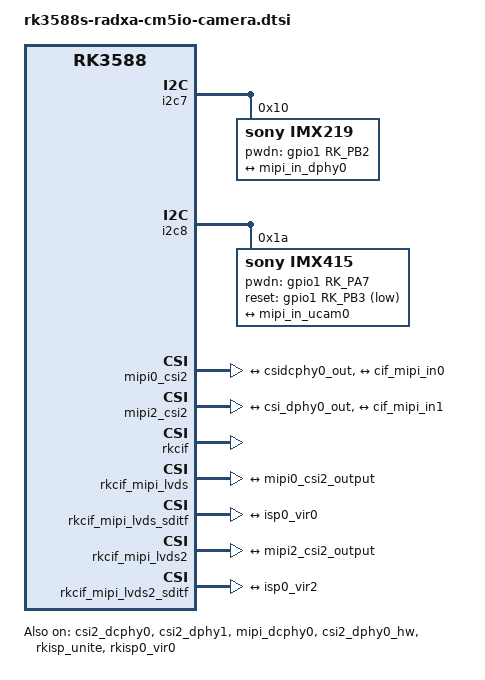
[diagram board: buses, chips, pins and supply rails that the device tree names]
// SPDX-License-Identifier: (GPL-2.0+ OR MIT)
/*
 * Copyright (c) 2021 Rockchip Electronics Co., Ltd.
 *
 */

/ {
	compatible = "radxa,rock-cm5", "rockchip,rk3588";
};

&csi2_dcphy0 {
	status = "okay";

	ports {
		#address-cells = <1>;
		#size-cells = <0>;
		port@0 {
			reg = <0>;
			#address-cells = <1>;
			#size-cells = <0>;

			mipi_in_ucam0: endpoint@1 {
				reg = <1>;
				remote-endpoint = <&imx415_out0>;
				data-lanes = <1 2 3 4>;
			};
		};
		port@1 {
			reg = <1>;
			#address-cells = <1>;
			#size-cells = <0>;

			csidcphy0_out: endpoint@0 {
				reg = <0>;
				remote-endpoint = <&mipi0_csi2_input>;
			};
		};
	};
};

&csi2_dphy1 {
	status = "okay";

	ports {
		#address-cells = <1>;
		#size-cells = <0>;
		port@0 {
			reg = <0>;
			#address-cells = <1>;
			#size-cells = <0>;

			mipi_in_dphy0: endpoint@2 {
				reg = <1>;
				remote-endpoint = <&imx219_out0>;
				data-lanes = <1 2>;
			};
		};

		port@1 {
			reg = <1>;
			#address-cells = <1>;
			#size-cells = <0>;

			csi_dphy0_out: endpoint@0 {
				reg = <0>;
				remote-endpoint = <&mipi2_csi2_input>;
			};
		};
	};
};

&i2c7 {
	status = "okay";
	pinctrl-names = "default";
	pinctrl-0 = <&i2c7m2_xfer>;

	imx219: imx219@10 {
		compatible = "sony,imx219";
		reg = <0x10>;

		clocks = <&cru CLK_MIPI_CAMARAOUT_M2>;
		clock-names = "xvclk";
		pwdn-gpios = <&gpio1 RK_PB2 GPIO_ACTIVE_HIGH>;
		
		rockchip,camera-module-index = <1>;
		rockchip,camera-module-facing = "front";
		rockchip,camera-module-name = "rpi-camera-v2";
		rockchip,camera-module-lens-name = "default";

		port {
			imx219_out0: endpoint {
				remote-endpoint = <&mipi_in_dphy0>;
				data-lanes = <1 2>;
			};
		};
	};
};

&i2c8 {
	status = "okay";

	imx415: imx415@1a {
		compatible = "sony,imx415";
		reg = <0x1a>;
		clocks = <&cru CLK_MIPI_CAMARAOUT_M1>;
		clock-names = "xvclk";
		pinctrl-names = "default";
		pinctrl-0 = <&mipim0_camera1_clk>;
		power-domains = <&power RK3588_PD_VI>;
		pwdn-gpios = <&gpio1 RK_PA7 GPIO_ACTIVE_HIGH>;
		reset-gpios = <&gpio1 RK_PB3 GPIO_ACTIVE_LOW>;
		// avdd-supply = <&vcc_mipidcphy0>;
		rockchip,camera-module-index = <0>;
		rockchip,camera-module-facing = "back";
		rockchip,camera-module-name = "CMK-OT2022-PX1";
		rockchip,camera-module-lens-name = "IR0147-50IRC-8M-F20";
		//lens-focus = <&cam_ircut0>;
		port {
			imx415_out0: endpoint {
				remote-endpoint = <&mipi_in_ucam0>;
				data-lanes = <1 2 3 4>;
			};
		};
	};
};

&mipi_dcphy0 {
	status = "okay";
};

&mipi0_csi2 {
	status = "okay";

	ports {
		#address-cells = <1>;
		#size-cells = <0>;

		port@0 {
			reg = <0>;
			#address-cells = <1>;
			#size-cells = <0>;

			mipi0_csi2_input: endpoint@1 {
				reg = <1>;
				remote-endpoint = <&csidcphy0_out>;
                data-lanes = <1 2 3 4>;
			};
		};

		port@1 {
			reg = <1>;
			#address-cells = <1>;
			#size-cells = <0>;

			mipi0_csi2_output: endpoint@0 {
				reg = <0>;
				remote-endpoint = <&cif_mipi_in0>;
                data-lanes = <1 2 3 4>;
			};
		};
	};
};

&csi2_dphy0_hw {
	status = "okay";
};

&mipi2_csi2 {
	status = "okay";

	ports {
		#address-cells = <1>;
		#size-cells = <0>;

		port@0 {
			reg = <0>;
			#address-cells = <1>;
			#size-cells = <0>;

			mipi2_csi2_input: endpoint@1 {
				reg = <1>;
				remote-endpoint = <&csi_dphy0_out>;
                data-lanes = <1 2>;
			};
		};

		port@1 {
			reg = <1>;
			#address-cells = <1>;
			#size-cells = <0>;

			mipi2_csi2_output: endpoint@0 {
				reg = <0>;
				remote-endpoint = <&cif_mipi_in1>;
                data-lanes = <1 2>;
			};
		};
	};
};

&rkcif {
	status = "okay";
};

&rkcif_mipi_lvds {
	status = "okay";

	port {
		cif_mipi_in0: endpoint {
			remote-endpoint = <&mipi0_csi2_output>;
            data-lanes = <1 2 3 4>;
		};
	};
};

&rkcif_mipi_lvds_sditf {
	status = "okay";

	port {
		mipi_lvds_sditf: endpoint {
			remote-endpoint = <&isp0_vir0>;
            data-lanes = <1 2 3 4>;
		};
	};
};

&rkcif_mipi_lvds2 {
	status = "okay";

	port {
		cif_mipi_in1: endpoint {
			remote-endpoint = <&mipi2_csi2_output>;
            data-lanes = <1 2>;
		};
	};
};

&rkcif_mipi_lvds2_sditf {
	status = "okay";

	port {
		mipi_lvds2_sditf: endpoint {
			remote-endpoint = <&isp0_vir2>;
            data-lanes = <1 2>;
		};
	};
};

&rkcif_mmu {
	status = "okay";
};

&rkisp0 {
	status = "disabled";
};

&isp0_mmu {
	status = "disabled";
};

&rkisp1 {
	status = "disabled";
};

&isp1_mmu {
	status = "disabled";
};

&rkisp_unite {
	status = "okay";
};

&rkisp_unite_mmu {
	status = "okay";
};

&rkisp0_vir0 {
	status = "okay";
    rockchip,hw = <&rkisp_unite>;

	port {
		#address-cells = <1>;
		#size-cells = <0>;

		isp0_vir0: endpoint@0 {
			reg = <0>;
			remote-endpoint = <&mipi_lvds_sditf>;
		};

        isp0_vir2: endpoint@1 {
			reg = <1>;
			remote-endpoint = <&mipi_lvds2_sditf>;
		};
	};
};

// &rkisp0_vir2 {
// 	status = "okay";
// 	port {
// 		#address-cells = <1>;
// 		#size-cells = <0>;

// 		isp0_vir2: endpoint@1 {
// 			reg = <1>;
// 			remote-endpoint = <&mipi_lvds2_sditf>;
// 		};
// 	};
// };
